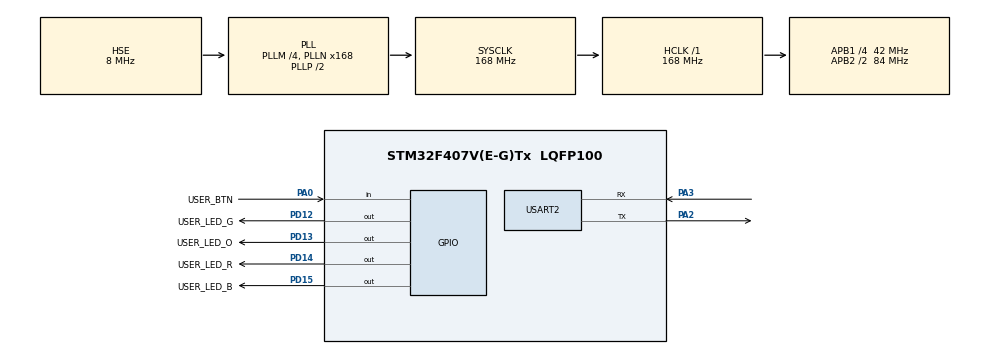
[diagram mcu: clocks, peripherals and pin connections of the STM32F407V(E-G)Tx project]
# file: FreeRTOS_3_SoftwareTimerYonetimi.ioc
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FREERTOS.Tasks01=Task1,0,128,Task1Function,Default,NULL,Dynamic,NULL,NULL
FREERTOS.Timers01=OneShot,OneShotCallback,osTimerOnce,Default,NULL,Dynamic,NULL;AutoReload,AutoReloadCallback,osTimerPeriodic,Default,NULL,Dynamic,NULL
FREERTOS.configTIMER_QUEUE_LENGTH=5
FREERTOS.configTIMER_TASK_PRIORITY=6
FREERTOS.configUSE_TIMERS=1
Mcu.Family=STM32F4
Mcu.Name=STM32F407V(E-G)Tx
Mcu.Package=LQFP100
NVIC.PriorityGroup=NVIC_PRIORITYGROUP_4
NVIC.TIM1_UP_TIM10_IRQn=true\:0\:0\:false\:false\:true\:false\:false\:true
NVIC.TimeBase=TIM1_UP_TIM10_IRQn
NVIC.TimeBaseIP=TIM1
PA0-WKUP.GPIO_Label=USER_BTN
PA0-WKUP.Signal=GPIO_Input
PA2.Mode=Asynchronous
PA2.Signal=USART2_TX
PA3.Mode=Asynchronous
PA3.Signal=USART2_RX
PD12.GPIO_Label=USER_LED_G
PD12.Signal=GPIO_Output
PD13.GPIO_Label=USER_LED_O
PD13.Signal=GPIO_Output
PD14.GPIO_Label=USER_LED_R
PD14.Signal=GPIO_Output
PD15.GPIO_Label=USER_LED_B
PD15.Signal=GPIO_Output
PH0-OSC_IN.Mode=HSE-External-Oscillator
PH0-OSC_IN.Signal=RCC_OSC_IN
PH1-OSC_OUT.Mode=HSE-External-Oscillator
PH1-OSC_OUT.Signal=RCC_OSC_OUT
ProjectManager.HeapSize=0x200
ProjectManager.StackSize=0x400
ProjectManager.TargetToolchain=STM32CubeIDE
RCC.48MHZClocksFreq_Value=84000000
RCC.AHBFreq_Value=168000000
RCC.APB1CLKDivider=RCC_HCLK_DIV4
RCC.APB1Freq_Value=42000000
RCC.APB1TimFreq_Value=84000000
RCC.APB2CLKDivider=RCC_HCLK_DIV2
RCC.APB2Freq_Value=84000000
RCC.APB2TimFreq_Value=168000000
RCC.CortexFreq_Value=168000000
RCC.HCLKFreq_Value=168000000
RCC.HSE_VALUE=8000000
RCC.HSI_VALUE=16000000
RCC.LSE_VALUE=32768
RCC.PLLM=4
RCC.PLLN=168
RCC.PLLSourceVirtual=RCC_PLLSOURCE_HSE
RCC.SYSCLKFreq_VALUE=168000000
RCC.SYSCLKSource=RCC_SYSCLKSOURCE_PLLCLK
RCC.VCOOutputFreq_Value=336000000
USART2.VirtualMode=VM_ASYNC
VP_FREERTOS_VS_CMSIS_V1.Mode=CMSIS_V1
VP_SYS_VS_tim1.Mode=TIM1
board=custom

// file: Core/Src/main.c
/* USER CODE BEGIN Header */
/**
  ******************************************************************************
  * @file           : main.c
  * @brief          : Main program body
  ******************************************************************************
  * @attention
  *
  * <h2><center>&copy; Copyright (c) 2020 STMicroelectronics.
  * All rights reserved.</center></h2>
  *
  * This software component is licensed by ST under BSD 3-Clause license,
  * the "License"; You may not use this file except in compliance with the
  * License. You may obtain a copy of the License at:
  *                        opensource.org/licenses/BSD-3-Clause
  *
  ******************************************************************************
  */
/* USER CODE END Header */
#include "main.h"
#include "cmsis_os.h"

/* USER CODE BEGIN Includes */
#include "string.h"
#include "stdio.h"
/* USER CODE END Includes */

/* USER CODE BEGIN PD */

#define mainONE_SHOT_TIMER_PERIOD pdMS_TO_TICKS( 2000 )
#define mainAUTO_RELOAD_TIMER_PERIOD pdMS_TO_TICKS( 500 )

/* USER CODE END PD */

UART_HandleTypeDef huart2;

osThreadId Task1Handle;

// CMSIS RTOS Yazilimsal timer tanimlamasi.
osTimerId OneShotHandle;
osTimerId AutoReloadHandle;

void SystemClock_Config(void);
static void MX_GPIO_Init(void);
static void MX_USART2_UART_Init(void);
void Task1Function(void const * argument);

// CMSIS RTOS Yazilimsal Timer Callback fonksiyon prototipleri.
void OneShotCallback(void const * argument);
void AutoReloadCallback(void const * argument);

/* USER CODE BEGIN PFP */
static void prvOneShotTimerCallback( TimerHandle_t xTimer );
static void prvAutoReloadTimerCallback( TimerHandle_t xTimer );
void UartPrint(char* message);
/* USER CODE END PFP */

int main(void)
{

  /* MCU Configuration--------------------------------------------------------*/

  /* Reset of all peripherals, Initializes the Flash interface and the Systick. */
  HAL_Init();

  /* Configure the system clock */
  SystemClock_Config();

  /* Initialize all configured peripherals */
  MX_GPIO_Init();
  MX_USART2_UART_Init();

  /* Create the timer(s) */
  /* definition and creation of OneShot */
  osTimerDef(OneShot, OneShotCallback);
  OneShotHandle = osTimerCreate(osTimer(OneShot), osTimerOnce, NULL);

  /* definition and creation of AutoReload */
  osTimerDef(AutoReload, AutoReloadCallback);
  AutoReloadHandle = osTimerCreate(osTimer(AutoReload), osTimerPeriodic, NULL);

  /* Create the thread(s) */
  /* definition and creation of Task1 */
  osThreadDef(Task1, Task1Function, osPriorityNormal, 0, 128);
  Task1Handle = osThreadCreate(osThread(Task1), NULL);

  /* USER CODE BEGIN RTOS_THREADS */

	TimerHandle_t xAutoReloadTimer, xOneShotTimer;
	BaseType_t xTimer1Started, xTimer2Started;

	/* Create the one shot timer, storing the handle to the created timer in xOneShotTimer. */
	xOneShotTimer = xTimerCreate(
					"OneShot", /* Text name for the software timer - not used by FreeRTOS. */
					mainONE_SHOT_TIMER_PERIOD, /* The software timer's period in ticks. */
					pdFALSE, /* Setting uxAutoRealod to pdFALSE creates a one-shot software timer. */
					0,/* This example does not use the timer id. */
					prvOneShotTimerCallback ); /* The callback function to be used by the software timer being created. */

	/* Create the auto-reload timer, storing the handle to the created timer in xAutoReloadTimer. */
	xAutoReloadTimer = xTimerCreate(
						"AutoReload", /* Text name for the software timer - not used by FreeRTOS. */
						mainAUTO_RELOAD_TIMER_PERIOD,/* The software timer's period in ticks. */
						pdTRUE, /* Setting uxAutoRealod to pdTRUE creates an auto-reload timer. */
						0, /* This example does not use the timer id. */
						prvAutoReloadTimerCallback ); /* The callback function to be used by the software timer being created. */

	/* Check the software timers were created. */
	if( ( xOneShotTimer != NULL ) && ( xAutoReloadTimer != NULL ) )
	{
		xTimer1Started = xTimerStart( xOneShotTimer, 0 );
		xTimer2Started = xTimerStart( xAutoReloadTimer, 0 );

	}

  /* add threads, ... */
  /* USER CODE END RTOS_THREADS */

  /* Start scheduler */
  osKernelStart();

  /* We should never get here as control is now taken by the scheduler */
  /* Infinite loop */
  while (1)
  {

  }
}

void SystemClock_Config(void)
{
  RCC_OscInitTypeDef RCC_OscInitStruct = {0};
  RCC_ClkInitTypeDef RCC_ClkInitStruct = {0};

  /** Configure the main internal regulator output voltage
  */
  __HAL_RCC_PWR_CLK_ENABLE();
  __HAL_PWR_VOLTAGESCALING_CONFIG(PWR_REGULATOR_VOLTAGE_SCALE1);
  /** Initializes the RCC Oscillators according to the specified parameters
  * in the RCC_OscInitTypeDef structure.
  */
  RCC_OscInitStruct.OscillatorType = RCC_OSCILLATORTYPE_HSE;
  RCC_OscInitStruct.HSEState = RCC_HSE_ON;
  RCC_OscInitStruct.PLL.PLLState = RCC_PLL_ON;
  RCC_OscInitStruct.PLL.PLLSource = RCC_PLLSOURCE_HSE;
  RCC_OscInitStruct.PLL.PLLM = 4;
  RCC_OscInitStruct.PLL.PLLN = 168;
  RCC_OscInitStruct.PLL.PLLP = RCC_PLLP_DIV2;
  RCC_OscInitStruct.PLL.PLLQ = 4;
  if (HAL_RCC_OscConfig(&RCC_OscInitStruct) != HAL_OK)
  {
    Error_Handler();
  }
  /** Initializes the CPU, AHB and APB buses clocks
  */
  RCC_ClkInitStruct.ClockType = RCC_CLOCKTYPE_HCLK|RCC_CLOCKTYPE_SYSCLK
                              |RCC_CLOCKTYPE_PCLK1|RCC_CLOCKTYPE_PCLK2;
  RCC_ClkInitStruct.SYSCLKSource = RCC_SYSCLKSOURCE_PLLCLK;
  RCC_ClkInitStruct.AHBCLKDivider = RCC_SYSCLK_DIV1;
  RCC_ClkInitStruct.APB1CLKDivider = RCC_HCLK_DIV4;
  RCC_ClkInitStruct.APB2CLKDivider = RCC_HCLK_DIV2;

  if (HAL_RCC_ClockConfig(&RCC_ClkInitStruct, FLASH_LATENCY_5) != HAL_OK)
  {
    Error_Handler();
  }
}

static void MX_USART2_UART_Init(void)
{

  huart2.Instance = USART2;
  huart2.Init.BaudRate = 115200;
  huart2.Init.WordLength = UART_WORDLENGTH_8B;
  huart2.Init.StopBits = UART_STOPBITS_1;
  huart2.Init.Parity = UART_PARITY_NONE;
  huart2.Init.Mode = UART_MODE_TX_RX;
  huart2.Init.HwFlowCtl = UART_HWCONTROL_NONE;
  huart2.Init.OverSampling = UART_OVERSAMPLING_16;
  if (HAL_UART_Init(&huart2) != HAL_OK)
  {
    Error_Handler();
  }

}

static void MX_GPIO_Init(void)
{
  GPIO_InitTypeDef GPIO_InitStruct = {0};

  /* GPIO Ports Clock Enable */
  __HAL_RCC_GPIOH_CLK_ENABLE();
  __HAL_RCC_GPIOA_CLK_ENABLE();
  __HAL_RCC_GPIOD_CLK_ENABLE();

  /*Configure GPIO pin Output Level */
  HAL_GPIO_WritePin(GPIOD, USER_LED_G_Pin|USER_LED_O_Pin|USER_LED_R_Pin|USER_LED_B_Pin, GPIO_PIN_RESET);

  /*Configure GPIO pin : USER_BTN_Pin */
  GPIO_InitStruct.Pin = USER_BTN_Pin;
  GPIO_InitStruct.Mode = GPIO_MODE_INPUT;
  GPIO_InitStruct.Pull = GPIO_NOPULL;
  HAL_GPIO_Init(USER_BTN_GPIO_Port, &GPIO_InitStruct);

  /*Configure GPIO pins : USER_LED_G_Pin USER_LED_O_Pin USER_LED_R_Pin USER_LED_B_Pin */
  GPIO_InitStruct.Pin = USER_LED_G_Pin|USER_LED_O_Pin|USER_LED_R_Pin|USER_LED_B_Pin;
  GPIO_InitStruct.Mode = GPIO_MODE_OUTPUT_PP;
  GPIO_InitStruct.Pull = GPIO_NOPULL;
  GPIO_InitStruct.Speed = GPIO_SPEED_FREQ_LOW;
  HAL_GPIO_Init(GPIOD, &GPIO_InitStruct);

}

/* USER CODE BEGIN 4 */
static void prvOneShotTimerCallback( TimerHandle_t xTimer )
{
	TickType_t xTimeNow;

	xTimeNow = xTaskGetTickCount();

	HAL_GPIO_TogglePin(USER_LED_B_GPIO_Port, USER_LED_B_Pin);

	char msg[60];

	snprintf(msg,sizeof(msg),"One-shot timer callback executing %lu \r\n", xTimeNow);
	UartPrint(msg);

}

static void prvAutoReloadTimerCallback( TimerHandle_t xTimer )
{
	TickType_t xTimeNow;

	xTimeNow = xTaskGetTickCount();

	HAL_GPIO_TogglePin(USER_LED_G_GPIO_Port, USER_LED_G_Pin);

	char msg[60];

	snprintf(msg,sizeof(msg),"Auto-reload timer callback executing %lu\r\n", xTimeNow);
	UartPrint(msg);
}

void UartPrint(char* message)
{
	HAL_UART_Transmit(&huart2, (uint8_t*)message, strlen(message), 50);
}
/* USER CODE END 4 */

void Task1Function(void const * argument)
{
  /* USER CODE BEGIN 5 */
  /* Infinite loop */
  for(;;)
  {
	  TickType_t xTimeNow;

	  xTimeNow = xTaskGetTickCount();

	  HAL_GPIO_TogglePin(USER_LED_O_GPIO_Port, USER_LED_O_Pin);
	  char msg[60];

	  snprintf(msg,sizeof(msg),"Merhaba ben TASK1 :) %lu \r\n", xTimeNow);
	  UartPrint(msg);

	  vTaskDelay(pdMS_TO_TICKS(1000));

  }
  /* USER CODE END 5 */
}

/* OneShotCallback function */
void OneShotCallback(void const * argument)
{
}

/* AutoReloadCallback function */
void AutoReloadCallback(void const * argument)
{
}

void HAL_TIM_PeriodElapsedCallback(TIM_HandleTypeDef *htim)
{
  if (htim->Instance == TIM1) {
    HAL_IncTick();
  }
}

void Error_Handler(void)
{
}

/************************ (C) COPYRIGHT STMicroelectronics *****END OF FILE****/
